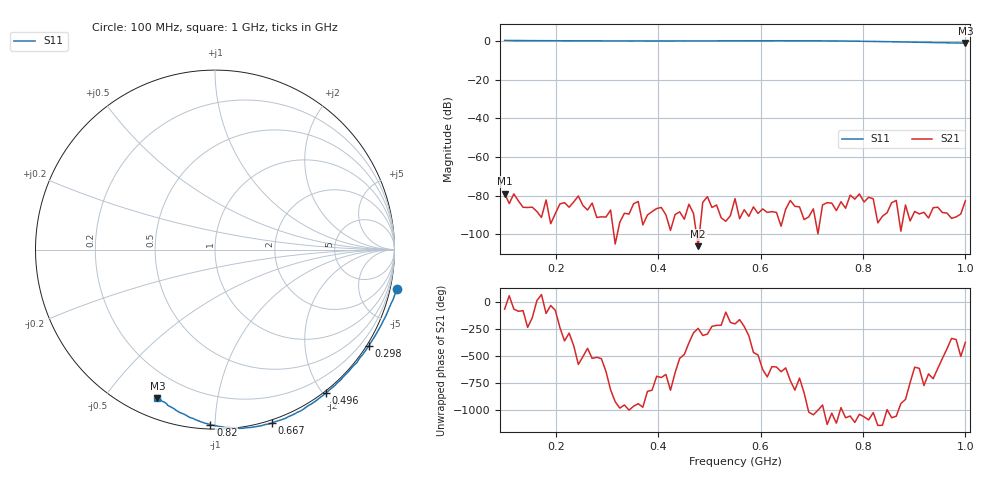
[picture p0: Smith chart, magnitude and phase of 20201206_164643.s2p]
# HZ S RI R 50
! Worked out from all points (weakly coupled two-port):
!   101 points, 100 MHz to 1 GHz, reference 50 ohm
!   highest |S21| = -78.85 dB at 100 MHz (marker M1); lowest = -106.1 dB at 478 MHz (marker M2)
!   lowest |S11| = -1.0 dB at 1 GHz (marker M3), VSWR 16.81, Z = 4.36 - j34 ohm
!   |S11| at or under -10 dB: nowhere
!   S12 and S22 are empty: the file has one direction only
!   S11 on the Smith chart (normalised r, x): 100 MHz: -1.51, -9.07; 298 MHz: -0.07, -3.49; 496 MHz: -0.03, -2.04; 667 MHz: -0.02, -1.38; 820 MHz: 0.02, -0.97; 1 GHz: 0.09, -0.68
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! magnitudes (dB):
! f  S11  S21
! 100 MHz  0.3  -78.9
! 109 MHz  0.3  -84.0
! 118 MHz  0.3  -79.1
! 127 MHz  0.3  -82.7
! 163 MHz  0.2  -88.1
! 253 MHz  0.1  -85.1
! 298 MHz  0.1  -91.0
! 406 MHz  0.1  -86.1
! 478 MHz  0.1  -106.1
! 496 MHz  0.1  -80.5
! 550 MHz  0.1  -81.5
! 667 MHz  0.1  -85.5
! 703 MHz  0.1  -86.8
! 766 MHz  0.0  -86.5
! 775 MHz  0.0  -79.7
! 784 MHz  -0.1  -81.8
! 793 MHz  -0.1  -79.1
! 802 MHz  -0.1  -83.3
! 820 MHz  -0.2  -81.6
! 856 MHz  -0.4  -83.6
! 973 MHz  -1.0  -91.7
! 1 GHz  -1.0  -82.6
